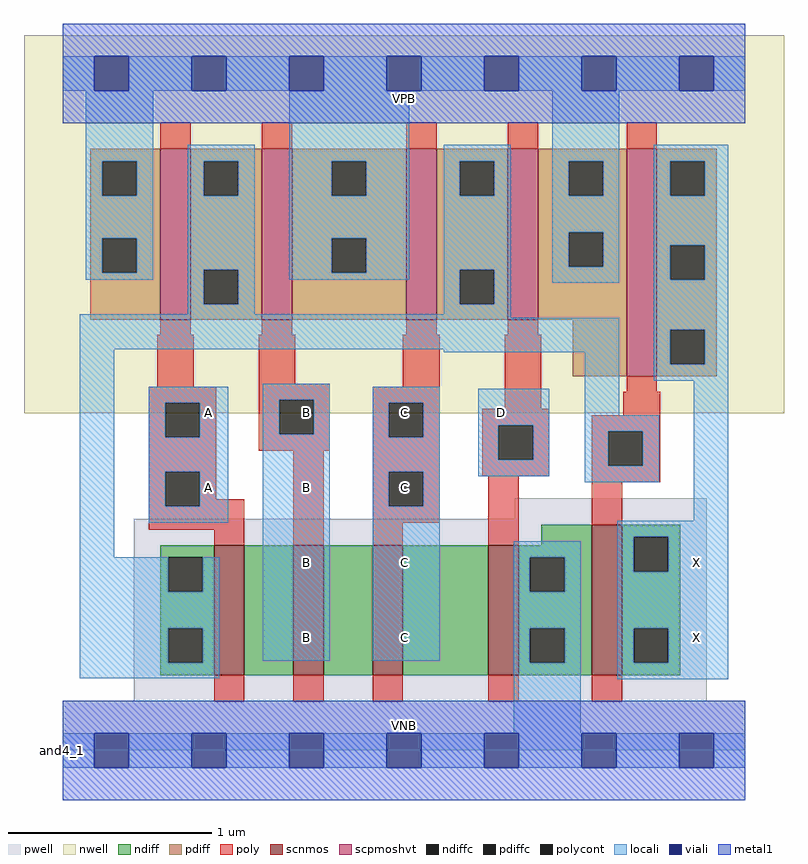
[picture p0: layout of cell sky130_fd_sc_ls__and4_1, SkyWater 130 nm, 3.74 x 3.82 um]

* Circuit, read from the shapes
.subckt sky130_fd_sc_ls__and4_1 A B C D VGND VNB VPB VPWR X
XM1 n1 A n2 VNB sky130_fd_pr__nfet_01v8 w=0.64 l=0.15
XM2 n3 B n1 VNB sky130_fd_pr__nfet_01v8 w=0.64 l=0.15
XM3 n4 C n3 VNB sky130_fd_pr__nfet_01v8 w=0.64 l=0.15
XM4 VGND D n4 VNB sky130_fd_pr__nfet_01v8 w=0.64 l=0.15
XM5 X n2 VGND VNB sky130_fd_pr__nfet_01v8 w=0.74 l=0.15
XM6 n2 A VPWR VPB sky130_fd_pr__pfet_01v8_hvt w=0.84 l=0.15
XM7 VPWR B n2 VPB sky130_fd_pr__pfet_01v8_hvt w=0.84 l=0.15
XM8 n2 C VPWR VPB sky130_fd_pr__pfet_01v8_hvt w=0.84 l=0.15
XM9 VPWR D n2 VPB sky130_fd_pr__pfet_01v8_hvt w=0.84 l=0.15
XM10 X n2 VPWR VPB sky130_fd_pr__pfet_01v8_hvt w=1.12 l=0.15
.ends

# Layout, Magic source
magic
tech sky130A
magscale 1 2
<< nwell >>
rect -38 332 710 704
<< pwell >>
rect 445 228 634 248
rect 70 49 634 228
rect 0 0 672 49
<< scnmos >>
rect 149 74 179 202
rect 227 74 257 202
rect 305 74 335 202
rect 419 74 449 202
rect 521 74 551 222
<< scpmoshvt >>
rect 96 424 126 592
rect 196 424 226 592
rect 338 424 368 592
rect 438 424 468 592
rect 555 368 585 592
<< ndiff >>
rect 471 202 521 222
rect 96 190 149 202
rect 96 156 104 190
rect 138 156 149 190
rect 96 120 149 156
rect 96 86 104 120
rect 138 86 149 120
rect 96 74 149 86
rect 179 74 227 202
rect 257 74 305 202
rect 335 74 419 202
rect 449 190 521 202
rect 449 156 460 190
rect 494 156 521 190
rect 449 120 521 156
rect 449 86 460 120
rect 494 86 521 120
rect 449 74 521 86
rect 551 210 608 222
rect 551 176 562 210
rect 596 176 608 210
rect 551 120 608 176
rect 551 86 562 120
rect 596 86 608 120
rect 551 74 608 86
<< pdiff >>
rect 27 580 96 592
rect 27 546 39 580
rect 73 546 96 580
rect 27 504 96 546
rect 27 470 39 504
rect 73 470 96 504
rect 27 424 96 470
rect 126 580 196 592
rect 126 546 139 580
rect 173 546 196 580
rect 126 473 196 546
rect 126 439 139 473
rect 173 439 196 473
rect 126 424 196 439
rect 226 580 338 592
rect 226 546 265 580
rect 299 546 338 580
rect 226 504 338 546
rect 226 470 265 504
rect 299 470 338 504
rect 226 424 338 470
rect 368 580 438 592
rect 368 546 391 580
rect 425 546 438 580
rect 368 473 438 546
rect 368 439 391 473
rect 425 439 438 473
rect 368 424 438 439
rect 468 580 555 592
rect 468 546 498 580
rect 532 546 555 580
rect 468 510 555 546
rect 468 476 498 510
rect 532 476 555 510
rect 468 424 555 476
rect 502 368 555 424
rect 585 580 644 592
rect 585 546 598 580
rect 632 546 644 580
rect 585 497 644 546
rect 585 463 598 497
rect 632 463 644 497
rect 585 414 644 463
rect 585 380 598 414
rect 632 380 644 414
rect 585 368 644 380
<< ndiffc >>
rect 104 156 138 190
rect 104 86 138 120
rect 460 156 494 190
rect 460 86 494 120
rect 562 176 596 210
rect 562 86 596 120
<< pdiffc >>
rect 39 546 73 580
rect 39 470 73 504
rect 139 546 173 580
rect 139 439 173 473
rect 265 546 299 580
rect 265 470 299 504
rect 391 546 425 580
rect 391 439 425 473
rect 498 546 532 580
rect 498 476 532 510
rect 598 546 632 580
rect 598 463 632 497
rect 598 380 632 414
<< poly >>
rect 96 592 126 618
rect 196 592 226 618
rect 338 592 368 618
rect 438 592 468 618
rect 555 592 585 618
rect 96 409 126 424
rect 196 409 226 424
rect 338 409 368 424
rect 438 409 468 424
rect 93 358 129 409
rect 193 361 229 409
rect 85 342 151 358
rect 85 308 101 342
rect 135 308 151 342
rect 85 274 151 308
rect 193 345 263 361
rect 335 358 371 409
rect 193 311 213 345
rect 247 311 263 345
rect 193 295 263 311
rect 305 342 371 358
rect 305 308 321 342
rect 355 308 371 342
rect 435 336 471 409
rect 555 353 585 368
rect 85 240 101 274
rect 135 247 151 274
rect 135 240 179 247
rect 85 217 179 240
rect 149 202 179 217
rect 227 202 257 295
rect 305 274 371 308
rect 305 240 321 274
rect 355 240 371 274
rect 413 320 479 336
rect 552 330 588 353
rect 413 286 429 320
rect 463 286 479 320
rect 413 270 479 286
rect 521 314 588 330
rect 521 280 537 314
rect 571 280 588 314
rect 305 224 371 240
rect 305 202 335 224
rect 419 202 449 270
rect 521 264 588 280
rect 521 222 551 264
rect 149 48 179 74
rect 227 48 257 74
rect 305 48 335 74
rect 419 48 449 74
rect 521 48 551 74
<< polycont >>
rect 101 308 135 342
rect 213 311 247 345
rect 321 308 355 342
rect 101 240 135 274
rect 321 240 355 274
rect 429 286 463 320
rect 537 280 571 314
<< locali >>
rect 0 649 31 683
rect 65 649 127 683
rect 161 649 223 683
rect 257 649 319 683
rect 353 649 415 683
rect 449 649 511 683
rect 545 649 607 683
rect 641 649 672 683
rect 23 580 89 649
rect 23 546 39 580
rect 73 546 89 580
rect 23 504 89 546
rect 23 470 39 504
rect 73 470 89 504
rect 23 463 89 470
rect 123 580 189 596
rect 123 546 139 580
rect 173 546 189 580
rect 123 473 189 546
rect 123 439 139 473
rect 173 439 189 473
rect 223 580 341 649
rect 223 546 265 580
rect 299 546 341 580
rect 223 504 341 546
rect 223 470 265 504
rect 299 470 341 504
rect 223 463 341 470
rect 375 580 441 596
rect 375 546 391 580
rect 425 546 441 580
rect 375 473 441 546
rect 123 429 189 439
rect 375 439 391 473
rect 425 439 441 473
rect 482 580 548 649
rect 482 546 498 580
rect 532 546 548 580
rect 482 510 548 546
rect 482 476 498 510
rect 532 476 548 510
rect 482 460 548 476
rect 582 580 655 596
rect 582 546 598 580
rect 632 546 655 580
rect 582 497 655 546
rect 582 463 598 497
rect 632 463 655 497
rect 375 429 441 439
rect 17 426 441 429
rect 17 395 548 426
rect 17 190 51 395
rect 375 392 548 395
rect 85 342 163 358
rect 85 308 101 342
rect 135 308 163 342
rect 85 274 163 308
rect 85 240 101 274
rect 135 240 163 274
rect 85 224 163 240
rect 197 345 263 361
rect 197 311 213 345
rect 247 311 263 345
rect 17 156 104 190
rect 138 156 154 190
rect 17 120 154 156
rect 17 86 104 120
rect 138 86 154 120
rect 197 88 263 311
rect 305 342 371 358
rect 305 308 321 342
rect 355 308 371 342
rect 305 274 371 308
rect 305 240 321 274
rect 355 240 371 274
rect 409 320 479 356
rect 409 286 429 320
rect 463 286 479 320
rect 409 270 479 286
rect 514 330 548 392
rect 582 414 655 463
rect 582 380 598 414
rect 632 380 655 414
rect 582 364 655 380
rect 514 314 587 330
rect 514 280 537 314
rect 571 280 587 314
rect 514 264 587 280
rect 305 88 371 240
rect 621 226 655 364
rect 546 210 655 226
rect 444 190 510 206
rect 444 156 460 190
rect 494 156 510 190
rect 444 120 510 156
rect 17 71 154 86
rect 444 86 460 120
rect 494 86 510 120
rect 444 17 510 86
rect 546 176 562 210
rect 596 176 655 210
rect 546 120 655 176
rect 546 86 562 120
rect 596 86 655 120
rect 546 70 655 86
rect 0 -17 31 17
rect 65 -17 127 17
rect 161 -17 223 17
rect 257 -17 319 17
rect 353 -17 415 17
rect 449 -17 511 17
rect 545 -17 607 17
rect 641 -17 672 17
<< viali >>
rect 31 649 65 683
rect 127 649 161 683
rect 223 649 257 683
rect 319 649 353 683
rect 415 649 449 683
rect 511 649 545 683
rect 607 649 641 683
rect 31 -17 65 17
rect 127 -17 161 17
rect 223 -17 257 17
rect 319 -17 353 17
rect 415 -17 449 17
rect 511 -17 545 17
rect 607 -17 641 17
<< metal1 >>
rect 0 683 672 715
rect 0 649 31 683
rect 65 649 127 683
rect 161 649 223 683
rect 257 649 319 683
rect 353 649 415 683
rect 449 649 511 683
rect 545 649 607 683
rect 641 649 672 683
rect 0 617 672 649
rect 0 17 672 49
rect 0 -17 31 17
rect 65 -17 127 17
rect 161 -17 223 17
rect 257 -17 319 17
rect 353 -17 415 17
rect 449 -17 511 17
rect 545 -17 607 17
rect 641 -17 672 17
rect 0 -49 672 -17
<< labels >>
rlabel comment s 0 0 0 0 4 and4_1
flabel pwell s 0 0 672 49 0 FreeSans 200 0 0 0 VNB
port 6 nsew ground bidirectional
flabel nwell s 0 617 672 666 0 FreeSans 200 0 0 0 VPB
port 7 nsew power bidirectional
flabel metal1 s 0 617 672 666 0 FreeSans 340 0 0 0 VPWR
port 8 nsew power bidirectional abutment
flabel metal1 s 0 0 672 49 0 FreeSans 340 0 0 0 VGND
port 5 nsew ground bidirectional abutment
flabel locali s 127 242 161 276 0 FreeSans 340 0 0 0 A
port 1 nsew signal input
flabel locali s 127 316 161 350 0 FreeSans 340 0 0 0 A
port 1 nsew signal input
flabel locali s 223 94 257 128 0 FreeSans 340 0 0 0 B
port 2 nsew signal input
flabel locali s 223 168 257 202 0 FreeSans 340 0 0 0 B
port 2 nsew signal input
flabel locali s 223 242 257 276 0 FreeSans 340 0 0 0 B
port 2 nsew signal input
flabel locali s 223 316 257 350 0 FreeSans 340 0 0 0 B
port 2 nsew signal input
flabel locali s 319 94 353 128 0 FreeSans 340 0 0 0 C
port 3 nsew signal input
flabel locali s 319 168 353 202 0 FreeSans 340 0 0 0 C
port 3 nsew signal input
flabel locali s 319 242 353 276 0 FreeSans 340 0 0 0 C
port 3 nsew signal input
flabel locali s 319 316 353 350 0 FreeSans 340 0 0 0 C
port 3 nsew signal input
flabel locali s 415 316 449 350 0 FreeSans 340 0 0 0 D
port 4 nsew signal input
flabel locali s 607 94 641 128 0 FreeSans 340 0 0 0 X
port 9 nsew signal output
flabel locali s 607 168 641 202 0 FreeSans 340 0 0 0 X
port 9 nsew signal output
<< properties >>
string LEFsite unit
string LEFclass CORE
string FIXED_BBOX 0 0 672 666
string GDS_FILE $PDKPATH/libs.ref/sky130_fd_sc_ls/gds/sky130_fd_sc_ls.gds
string LEFsymmetry X Y
string GDS_END 4109448
string GDS_START 4102150
<< end >>
